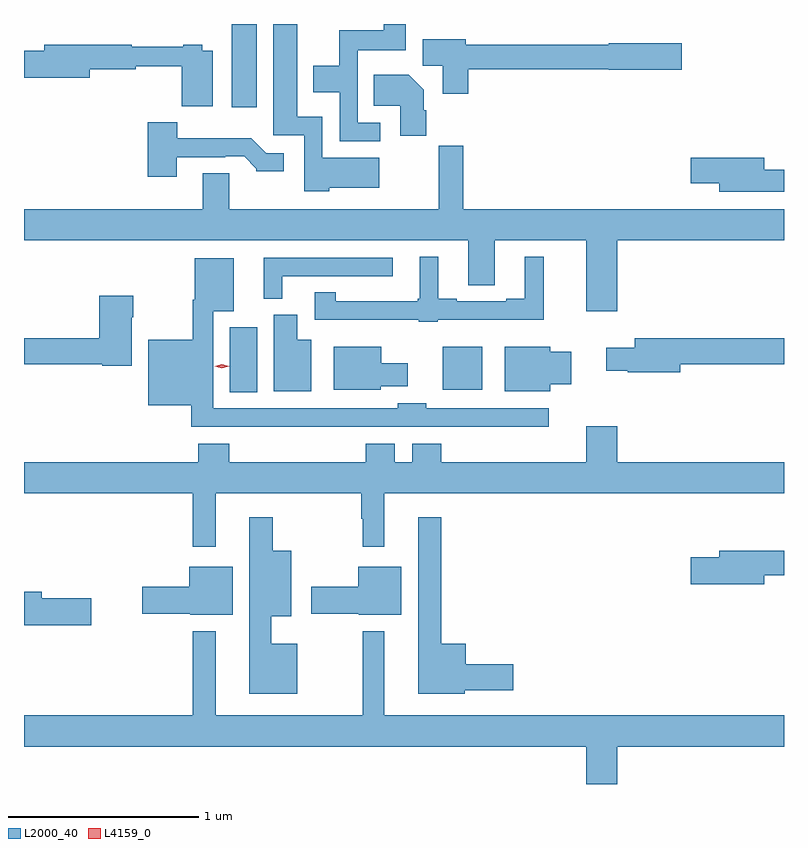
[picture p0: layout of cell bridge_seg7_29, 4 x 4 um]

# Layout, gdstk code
import gdstk
lib = gdstk.Library(unit=1e-6, precision=1e-09)
def R(c, l, rs):  # rectangles x0, y0, x1, y1
    for r in rs: c.add(gdstk.rectangle(r[:2], r[2:], *l))
def P(c, l, *ps):  # polygons
    for p in ps: c.add(gdstk.Polygon(p, *l))
L2000_40 = (2000, 40)
L4159_0 = (4159, 0)

bridge_seg7_29 = lib.new_cell('bridge_seg7_29')
R(bridge_seg7_29, L2000_40, [(1014.281,1070.413,1014.424,1070.755), (1015.4,1070.426,1015.609,1070.653), (1014.29,1071.912,1014.421,1072.351), (1013.849,1072.35,1014.001,1072.351)])
P(bridge_seg7_29, L2000_40, [(1014.804,1071.488),(1015.066,1071.488),(1015.066,1071.646),(1014.768,1071.646),(1014.768,1071.862),(1014.634,1071.862),(1014.634,1072.351),(1014.509,1072.351),(1014.509,1071.765),(1014.672,1071.765),(1014.672,1071.47),(1014.804,1071.47)],
  [(1015.072,1071.831),(1014.954,1071.831),(1014.954,1072.214),(1015.207,1072.214),(1015.207,1072.351),(1015.091,1072.351),(1015.091,1072.318),(1014.856,1072.318),(1014.856,1072.132),(1014.719,1072.132),(1014.719,1071.992),(1014.858,1071.992),(1014.858,1071.735),(1015.072,1071.735)],
  [(1015.535,1072.114),(1016.274,1072.114),(1016.274,1072.109),(1016.659,1072.109),(1016.659,1072.251),(1016.274,1072.251),(1016.274,1072.243),(1015.522,1072.243),(1015.522,1072.27),(1015.295,1072.27),(1015.295,1072.132),(1015.4,1072.132),(1015.4,1071.984),(1015.535,1071.984)],
  [(1014.19,1072.21),(1014.135,1072.21),(1014.135,1072.243),(1014.035,1072.243),(1014.035,1072.23),(1013.765,1072.23),(1013.765,1072.243),(1013.303,1072.243),(1013.303,1072.209),(1013.197,1072.209),(1013.197,1072.067),(1013.542,1072.067),(1013.542,1072.114),(1013.784,1072.114),(1013.784,1072.129),(1014.028,1072.129),(1014.028,1071.917),(1014.19,1071.917)],
  [(1015.313,1071.896),(1015.3,1071.896),(1015.3,1072.006),(1015.222,1072.084),(1015.039,1072.084),(1015.039,1071.92),(1015.178,1071.92),(1015.178,1071.762),(1015.313,1071.762)],
  [(1014.001,1071.651),(1014.257,1071.651),(1014.257,1071.654),(1014.356,1071.654),(1014.42,1071.59),(1014.42,1071.575),(1014.565,1071.575),(1014.565,1071.672),(1014.471,1071.672),(1014.393,1071.751),(1014.004,1071.751),(1014.004,1071.835),(1013.849,1071.835),(1013.849,1071.546),(1014.001,1071.546)],
  [(1016.32,1071.212),(1017.197,1071.212),(1017.197,1071.376),(1015.508,1071.376),(1015.508,1071.709),(1015.38,1071.709),(1015.38,1071.376),(1014.277,1071.376),(1014.277,1071.566),(1014.137,1071.566),(1014.137,1071.376),(1013.197,1071.376),(1013.197,1071.212),(1015.535,1071.212),(1015.535,1070.977),(1015.675,1070.977),(1015.675,1071.212),(1016.156,1071.212),(1016.156,1070.838),(1016.32,1070.838)],
  [(1017.197,1071.584),(1017.094,1071.584),(1017.094,1071.647),(1016.706,1071.647),(1016.706,1071.512),(1016.855,1071.512),(1016.855,1071.468),(1017.197,1071.468)],
  [(1015.374,1070.795),(1015.932,1070.795),(1015.932,1071.127),(1015.832,1071.127),(1015.832,1070.905),(1015.736,1070.905),(1015.736,1070.892),(1015.474,1070.892),(1015.474,1070.905),(1015.378,1070.905),(1015.378,1071.127),(1015.28,1071.127),(1015.28,1070.905),(1015.269,1070.905),(1015.269,1070.893),(1014.839,1070.893),(1014.839,1070.939),(1014.726,1070.939),(1014.726,1070.795),(1015.274,1070.795),(1015.274,1070.784),(1015.374,1070.784)],
  [(1014.556,1071.024),(1015.138,1071.024),(1015.138,1071.12),(1014.458,1071.12),(1014.458,1070.905),(1014.556,1070.905)],
  [(1014.911,1070.232),(1015.414,1070.232),(1015.414,1070.231),(1015.96,1070.231),(1015.96,1070.328),(1015.314,1070.328),(1015.314,1070.356),(1015.164,1070.356),(1015.164,1070.328),(1014.193,1070.328),(1014.193,1070.585),(1014.192,1070.585),(1014.192,1070.84),(1014.301,1070.84),(1014.301,1071.118),(1014.095,1071.118),(1014.095,1070.9),(1014.084,1070.9),(1014.084,1070.689),(1013.852,1070.689),(1013.852,1070.345),(1014.076,1070.345),(1014.076,1070.232),(1014.361,1070.232),(1014.361,1070.231),(1014.911,1070.231)],
  [(1013.764,1070.807),(1013.772,1070.807),(1013.772,1070.92),(1013.594,1070.92),(1013.594,1070.696),(1013.197,1070.696),(1013.197,1070.56),(1013.61,1070.56),(1013.61,1070.552),(1013.764,1070.552)],
  [(1014.709,1070.689),(1014.634,1070.689),(1014.634,1070.82),(1014.512,1070.82),(1014.512,1070.417),(1014.709,1070.417)],
  [(1016.65,1070.56),(1017.197,1070.56),(1017.197,1070.696),(1016.411,1070.696),(1016.411,1070.647),(1016.262,1070.647),(1016.262,1070.525),(1016.374,1070.525),(1016.374,1070.518),(1016.65,1070.518)],
  [(1015.074,1070.444),(1015.216,1070.444),(1015.216,1070.566),(1015.078,1070.566),(1015.078,1070.653),(1014.827,1070.653),(1014.827,1070.426),(1015.074,1070.426)],
  [(1015.966,1070.456),(1016.077,1070.456),(1016.077,1070.627),(1015.966,1070.627),(1015.966,1070.653),(1015.727,1070.653),(1015.727,1070.417),(1015.966,1070.417)],
  [(1014.205,1069.88),(1014.972,1069.88),(1014.972,1069.748),(1014.979,1069.748),(1014.979,1069.599),(1015.093,1069.599),(1015.093,1069.88),(1017.197,1069.88),(1017.197,1070.044),(1016.32,1070.044),(1016.32,1070.233),(1016.156,1070.233),(1016.156,1070.044),(1015.394,1070.044),(1015.394,1070.143),(1015.241,1070.143),(1015.241,1070.044),(1015.147,1070.044),(1015.147,1070.143),(1014.995,1070.143),(1014.995,1070.044),(1014.278,1070.044),(1014.278,1070.143),(1014.113,1070.143),(1014.113,1070.044),(1013.197,1070.044),(1013.197,1069.88),(1014.084,1069.88),(1014.084,1069.599),(1014.205,1069.599)],
  [(1015.518,1068.845),(1015.771,1068.845),(1015.771,1068.98),(1015.522,1068.98),(1015.522,1069.09),(1015.393,1069.09),(1015.393,1069.756),(1015.271,1069.756),(1015.271,1068.827),(1015.518,1068.827)],
  [(1014.634,1069.09),(1014.497,1069.09),(1014.497,1069.235),(1014.604,1069.235),(1014.604,1069.579),(1014.505,1069.579),(1014.505,1069.756),(1014.383,1069.756),(1014.383,1068.827),(1014.634,1068.827)],
  [(1017.094,1069.45),(1017.197,1069.45),(1017.197,1069.579),(1016.855,1069.579),(1016.855,1069.545),(1016.706,1069.545),(1016.706,1069.403),(1017.094,1069.403)],
  [(1014.295,1069.495),(1014.068,1069.495),(1014.068,1069.389),(1013.82,1069.389),(1013.82,1069.247),(1014.072,1069.247),(1014.072,1069.241),(1014.295,1069.241)],
  [(1015.183,1069.495),(1014.956,1069.495),(1014.956,1069.389),(1014.708,1069.389),(1014.708,1069.247),(1014.96,1069.247),(1014.96,1069.241),(1015.183,1069.241)],
  [(1013.551,1069.328),(1013.29,1069.328),(1013.29,1069.364),(1013.197,1069.364),(1013.197,1069.186),(1013.551,1069.186)],
  [(1016.32,1068.548),(1017.197,1068.548),(1017.197,1068.712),(1015.093,1068.712),(1015.093,1069.156),(1014.979,1069.156),(1014.979,1068.712),(1014.205,1068.712),(1014.205,1069.156),(1014.084,1069.156),(1014.084,1068.712),(1013.197,1068.712),(1013.197,1068.548),(1016.156,1068.548),(1016.156,1068.351),(1016.32,1068.351)])
P(bridge_seg7_29, L4159_0, [(1014.239,1070.54),(1014.2,1070.55),(1014.2,1070.55),(1014.2,1070.55),(1014.239,1070.56),(1014.278,1070.55),(1014.278,1070.55),(1014.278,1070.55)])

lib.write_gds('bridge_seg7_29.gds')
